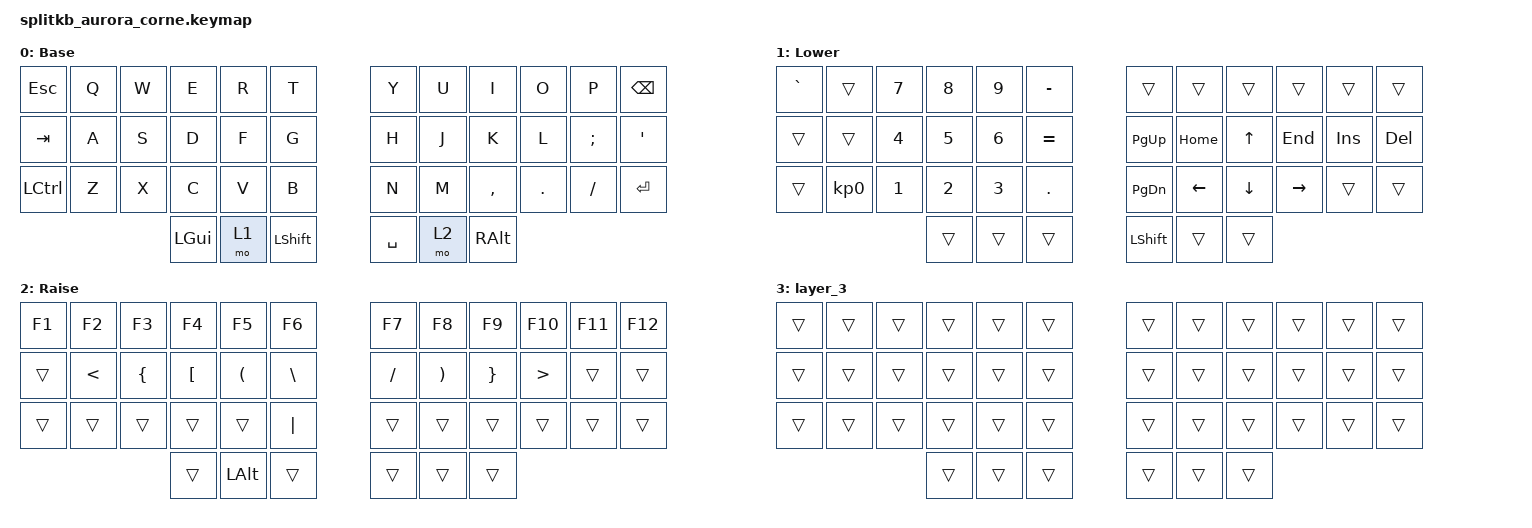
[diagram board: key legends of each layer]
/*
 * Copyright (c) 2020 The ZMK Contributors
 *
 * SPDX-License-Identifier: MIT
 */

#include <behaviors.dtsi>
#include <dt-bindings/zmk/keys.h>

/ {
    keymap {
        compatible = "zmk,keymap";

        // Base layer (Layer 0): Default QWERTY layout

        Base {
            // -----------------------------------------------------------------------------------------
            // |  TAB |  Q  |  W  |  E  |  R  |  T  |   |  Y  |  U   |  I  |  O  |  P  | BSPC |
            // | CTRL |  A  |  S  |  D  |  F  |  G  |   |  H  |  J   |  K  |  L  |  ;  |  '   |
            // | SHFT |  Z  |  X  |  C  |  V  |  B  |   |  N  |  M   |  ,  |  .  |  /  | ESC  |
            //                    | GUI | LWR | SPC |   | ENT | RSE  | ALT |

            bindings = <
&kp ESCAPE  &kp Q  &kp W  &kp E         &kp R  &kp T         &kp Y      &kp U  &kp I          &kp O    &kp P     &kp BSPC
&kp TAB     &kp A  &kp S  &kp D         &kp F  &kp G         &kp H      &kp J  &kp K          &kp L    &kp SEMI  &kp APOS
&kp LCTRL   &kp Z  &kp X  &kp C         &kp V  &kp B         &kp N      &kp M  &kp COMMA      &kp DOT  &kp FSLH  &kp ENTER
                          &kp LEFT_GUI  &mo 1  &kp LSHIFT    &kp SPACE  &mo 2  &kp RIGHT_ALT
            >;
        };

        // Lower layer (Layer 1): Numbers, symbols, and navigation keys
        // Activated by holding the left thumb key (LWR) in Base layer

        Lower {
            bindings = <
&kp GRAVE  &trans           &kp N7        &kp N8        &kp N9        &kp MINUS     &trans          &trans    &trans        &trans     &trans      &trans
&trans     &trans           &kp NUMBER_4  &kp N5        &kp NUMBER_6  &kp EQUAL     &kp PG_UP       &kp HOME  &kp UP_ARROW  &kp END    &kp INSERT  &kp DELETE
&trans     &kp KP_NUMBER_0  &kp NUMBER_1  &kp NUMBER_2  &kp NUMBER_3  &kp PERIOD    &kp PAGE_DOWN   &kp LEFT  &kp DOWN      &kp RIGHT  &trans      &trans
                                          &trans        &trans        &trans        &kp LEFT_SHIFT  &trans    &trans
            >;
        };

        // Raise layer (Layer 2): Function keys and Bluetooth controls
        // Activated by holding the right thumb key (RSE) in Base layer

        Raise {
            bindings = <
&kp F1  &kp F2         &kp F3          &kp F4            &kp F5                &kp F6           &kp F7     &kp F8                 &kp F9           &kp F10           &kp F11  &kp F12
&trans  &kp LESS_THAN  &kp LEFT_BRACE  &kp LEFT_BRACKET  &kp LEFT_PARENTHESIS  &kp BACKSLASH    &kp SLASH  &kp RIGHT_PARENTHESIS  &kp RIGHT_BRACE  &kp GREATER_THAN  &trans   &trans
&trans  &trans         &trans          &trans            &trans                &kp PIPE         &trans     &trans                 &trans           &trans            &trans   &trans
                                       &trans            &kp LALT              &trans           &trans     &trans                 &trans
            >;
        };

        layer_3 {
            bindings = <
&trans  &trans  &trans  &trans  &trans  &trans    &trans  &trans  &trans  &trans  &trans  &trans
&trans  &trans  &trans  &trans  &trans  &trans    &trans  &trans  &trans  &trans  &trans  &trans
&trans  &trans  &trans  &trans  &trans  &trans    &trans  &trans  &trans  &trans  &trans  &trans
                        &trans  &trans  &trans    &trans  &trans  &trans
            >;
        };
    };
};
